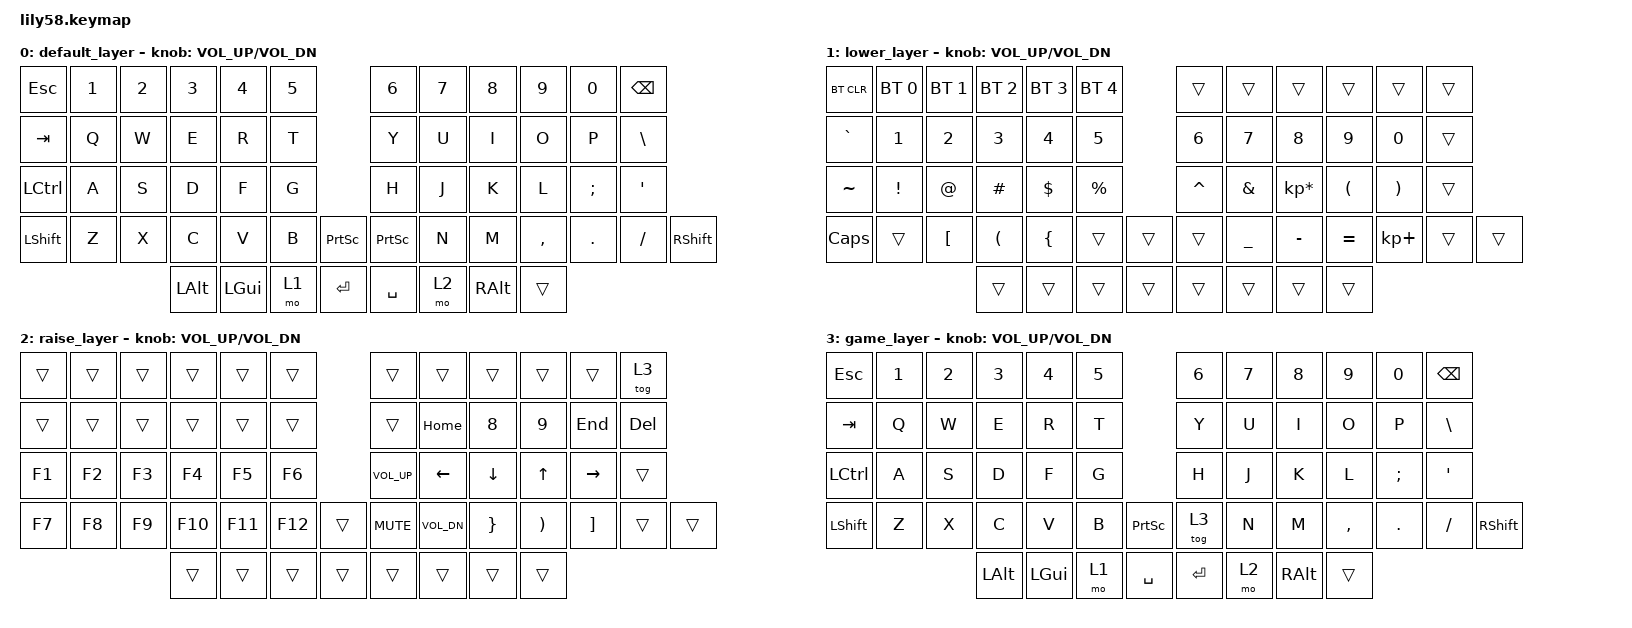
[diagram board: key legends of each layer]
/*
 * Copyright (c) 2020 The ZMK Contributors
 *
 * SPDX-License-Identifier: MIT
 */

#include <behaviors.dtsi>
#include <dt-bindings/zmk/keys.h>
#include <dt-bindings/zmk/bt.h>
#include <dt-bindings/zmk/ext_power.h>

/ {
	keymap {
		compatible = "zmk,keymap";

		default_layer {
// ------------------------------------------------------------------------------------------------------------
// |  ESC  |  1  |  2  |  3   |  4   |  5   |                   |  6   |  7    |  8    |  9   |   0   |  BSPC |
// |  TAB  |  Q  |  W  |  E   |  R   |  T   |                   |  Y   |  U    |  I    |  O   |   P   |   \   |
// |  CTRL |  A  |  S  |  D   |  F   |  G   |                   |  H   |  J    |  K    |  L   |   ;   |   '   |
// | SHIFT |  Z  |  X  |  C   |  V   |  B   |  PSCRN |  |  "]"  |  N   |  M    |  ,    |  .   |   /   | SHIFT |
//                     | ALT  | GUI  | LOWER|  SPACE |  | ENTER | RAISE|  ALT  | GUI   |
			bindings = <
&kp ESC   &kp N1 &kp N2 &kp N3   &kp N4   &kp N5                     &kp N6 &kp N7   &kp N8    &kp N9  &kp N0   &kp BSPC
&kp TAB   &kp Q  &kp W  &kp E    &kp R    &kp T                      &kp Y  &kp U    &kp I     &kp O   &kp P    &kp BSLH
&kp LCTRL &kp A  &kp S  &kp D    &kp F    &kp G                      &kp H  &kp J    &kp K     &kp L   &kp SEMI &kp SQT
&kp LSHFT &kp Z  &kp X  &kp C    &kp V    &kp B  &kp PRINTSCREEN  &kp PRINTSCREEN   &kp N  &kp M    &kp COMMA &kp DOT &kp FSLH &kp RSHFT
                        &kp LALT &kp LGUI &mo 1  &kp RET  &kp SPACE  &mo 2  &kp RALT &trans
			>;

			sensor-bindings = <&inc_dec_kp C_VOL_UP C_VOL_DN>;
		};

		lower_layer {
// ------------------------------------------------------------------------------------------------------------
// | BTCLR | BT1 | BT2 |  BT3 |  BT4 |  BT5 |                   |      |       |       |      |       |       |
// |  F1   |  F2 |  F3 |  F4  |  F5  |  F6  |                   |  F7  |  F8   |  F9   |  F10 |  F11  |  F12  |
// |   `   |  !  |  @  |  #   |  $   |  %   |                   |  ^   |  &    |  *    |  (   |   )   |   ~   |
// |       |     |     |      |      |      |        |  |       |      |  _    |  +    |  {   |   }   |  "|"  |
//                     |      |      |      |        |  |       |      |       |       |
			bindings = <
&bt BT_CLR &bt BT_SEL 0     &bt BT_SEL 1      &bt BT_SEL 2      &bt BT_SEL 3 &bt BT_SEL 4                 &trans    &trans    &trans          &trans    &trans    &trans
&kp GRAVE  &kp N1           &kp N2            &kp N3            &kp N4       &kp N5                       &kp N6    &kp N7    &kp N8          &kp N9    &kp N0    &trans
&kp TILDE  &kp EXCL         &kp AT            &kp HASH          &kp DOLLAR   &kp PRCNT                    &kp CARET &kp AMPS  &kp KP_MULTIPLY &kp LPAR  &kp RPAR  &trans
&kp CAPS   &trans           &kp LBKT          &kp LPAR          &kp LBRC     &trans    &trans   &trans    &kp UNDER &kp MINUS &kp EQUAL       &kp KP_PLUS  &trans  &trans
                                              &trans            &trans       &trans    &trans   &trans    &trans    &trans    &trans
			>;

			sensor-bindings = <&inc_dec_kp C_VOL_UP C_VOL_DN>;
		};

		raise_layer {
// ------------------------------------------------------------------------------------------------------------
// |       |     |     |      |      |      |                   |      |       |       |      |       |       |
// |   `   |  1  |  2  |  3   |  4   |  5   |                   |  6   |   7   |   8   |  9   |   0   |       |
// |   F1  |  F2 |  F3 |  F4  |  F5  |  F6  |                   |      |   <-  |   ^   |  v   |  ->   |       |
// |   F7  |  F8 |  F9 |  F10 |  F11 |  F12 |        |  |       |  +   |   -   |   =   |  [   |   ]   |   \   |
//                     |      |      |      |        |  |       |      |       |       |
			bindings = <
&trans    &trans &trans &trans  &trans  &trans                       &trans      &trans    &trans    &trans   &trans    &tog 3
&trans    &trans &trans &trans  &trans  &trans                       &trans      &kp HOME  &kp N8    &kp N9   &kp END   &kp DELETE
&kp F1    &kp F2 &kp F3 &kp F4  &kp F5  &kp F6                       &kp C_VOL_UP      &kp LEFT  &kp DOWN  &kp UP   &kp RIGHT &trans
&kp F7    &kp F8 &kp F9 &kp F10 &kp F11 &kp F12   &trans   &kp C_MUTE &kp C_VOL_DN      &kp RBRC  &kp RPAR  &kp RBKT &trans    &trans
                        &trans  &trans  &trans    &trans   &trans    &trans      &trans    &trans
			>;

			sensor-bindings = <&inc_dec_kp C_VOL_UP C_VOL_DN>;
		};
		
		game_layer {
// ------------------------------------------------------------------------------------------------------------
// |  ESC  |  1  |  2  |  3   |  4   |  5   |                   |  6   |  7    |  8    |  9   |   0   |  BSPC |
// |  TAB  |  Q  |  W  |  E   |  R   |  T   |                   |  Y   |  U    |  I    |  O   |   P   |   \   |
// |  CTRL |  A  |  S  |  D   |  F   |  G   |                   |  H   |  J    |  K    |  L   |   ;   |   '   |
// | SHIFT |  Z  |  X  |  C   |  V   |  B   |  PSCRN |  |  "]"  |  N   |  M    |  ,    |  .   |   /   | SHIFT |
//                     | ALT  | GUI  | LOWER|  SPACE |  | ENTER | RAISE|  ALT  | GUI   |
			bindings = <
&kp ESC   &kp N1 &kp N2 &kp N3   &kp N4   &kp N5                     &kp N6 &kp N7   &kp N8    &kp N9  &kp N0   &kp BSPC
&kp TAB   &kp Q  &kp W  &kp E    &kp R    &kp T                      &kp Y  &kp U    &kp I     &kp O   &kp P    &kp BSLH
&kp LCTRL &kp A  &kp S  &kp D    &kp F    &kp G                      &kp H  &kp J    &kp K     &kp L   &kp SEMI &kp SQT
&kp LSHFT &kp Z  &kp X  &kp C    &kp V    &kp B  &kp PRINTSCREEN  &tog 3   &kp N  &kp M    &kp COMMA &kp DOT &kp FSLH &kp RSHFT
                        &kp LALT &kp LGUI &mo 1  &kp SPACE  &kp RET  &mo 2  &kp RALT &trans
			>;

			sensor-bindings = <&inc_dec_kp C_VOL_UP C_VOL_DN>;
		};
	};
};
